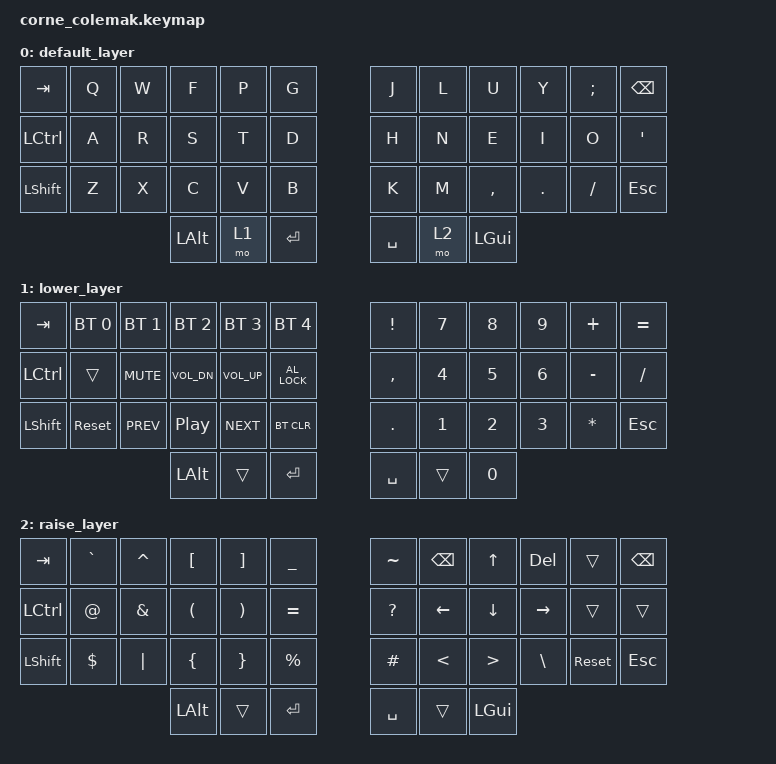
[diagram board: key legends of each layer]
/*
 * Copyright (c) 2020 The ZMK Contributors
 *
 * SPDX-License-Identifier: MIT
 */

#include <behaviors.dtsi>
#include <dt-bindings/zmk/keys.h>
#include <dt-bindings/zmk/bt.h>

/ {
        keymap {
                compatible = "zmk,keymap";

                default_layer {
/**
-----------------------------------------------------------------------------------------
| TAB |  Q  |  W  |  F  |  P  |  G  | * |  J  |  L   |  U  |  Y  |  ;: | BKSP|
| CTRL|  A  |  R  |  S  |  T  |  D  | * |  H  |  N   |  E  |  I  |  O  |  '" |
| SHFT|  Z  |  X  |  C  |  V  |  B  | * |  K  |  M   |  ,  |  .  |  /  | ESC |
                   | ALT | LWR | ENT | * | SPC | RSE  | GUI |
*/
                        bindings = <
   &kp TAB   &kp Q &kp W &kp F &kp P &kp G   &kp J &kp L  &kp U     &kp Y   &kp SEMI &kp BSPC
   &kp LCTRL &kp A &kp R &kp S &kp T &kp D   &kp H &kp N  &kp E     &kp I   &kp O    &kp SQT
   &kp LSHFT &kp Z &kp X &kp C &kp V &kp B   &kp K &kp M  &kp COMMA &kp DOT &kp FSLH &kp ESC
                  &kp LALT &mo 1 &kp RET     &kp SPACE &mo 2 &kp LGUI
                        >;
                };

                lower_layer {
/**
-----------------------------------------------------------------------------------------
| TAB  | BT1 | BT2 | BT3 | BT4 | BT5 | * |  !  |  7  |  8  |  9  |  +  |  /  |
| CTRL |     | MUTE| VOLD| VOLU| LOCK| * |  .  |  4  |  5  |  6  |  -  |  =  |
| SHFT | RSET| PREV| PLAY| NEXT| CLBT| * |  ,  |  1  |  2  |  3  |  *  | ESC |
                   | ALT |     | ENT | * | SPC |     |  0  |
*/
                        bindings = <
   &kp TAB    &bt BT_SEL 0 &bt BT_SEL 1 &bt BT_SEL 2 &bt BT_SEL 3 &bt BT_SEL 4     &kp EXCL  &kp N7  &kp N8  &kp N9  &kp PLUS  &kp EQUAL
   &kp LCTRL  &trans       &kp C_MUTE   &kp C_VOL_DN &kp C_VOL_UP &kp C_AL_LOCK    &kp COMMA &kp N4  &kp N5  &kp N6  &kp MINUS &kp SLASH
   &kp LSHFT  &sys_reset   &kp C_PREV   &kp C_PP     &kp C_NEXT   &bt BT_CLR       &kp DOT   &kp N1  &kp N2  &kp N3  &kp STAR  &kp ESC
                          	            &kp LALT     &trans       &kp RET          &kp SPACE &trans  &kp N0
                        >;
                };

                raise_layer {
/**
-----------------------------------------------------------------------------------------
|  TAB |  `  |  ^  |  [  |  ]  |  _  | * |  ~  |BKSP |  U  | DEL |     | BKSP |
| CTRL |  @  |  &  |  (  |  )  |  =  | * |  ?  |  L  |  D  |  R  |     |      |
| SHFT |  $  |  |  |  {  |  }  |  %  | * |  #  |  <  |  >  |  \  | RSET| ESC  |
                   | ALT |     | ENT | * | SPC |     | GUI |
*/
                        bindings = <
   &kp  TAB  &kp GRAVE &kp CARET &kp LBKT  &kp RBKT  &kp UNDER      &kp TILDE &kp BSPC &kp UP   &kp DEL   &trans     &kp BSPC
   &kp LCTRL &kp AT    &kp AMPS  &kp LPAR  &kp RPAR  &kp EQUAL      &kp QMARK &kp LEFT &kp DOWN &kp RIGHT &trans     &trans
   &kp LSHFT &kp DLLR  &kp PIPE  &kp LBRC  &kp RBRC  &kp PRCNT      &kp POUND &kp LT   &kp GT   &kp BSLH  &sys_reset &kp ESC
                    	         &kp LALT  &trans    &kp RET        &kp SPACE &trans   &kp LGUI
                        >;
                };
        };
};
